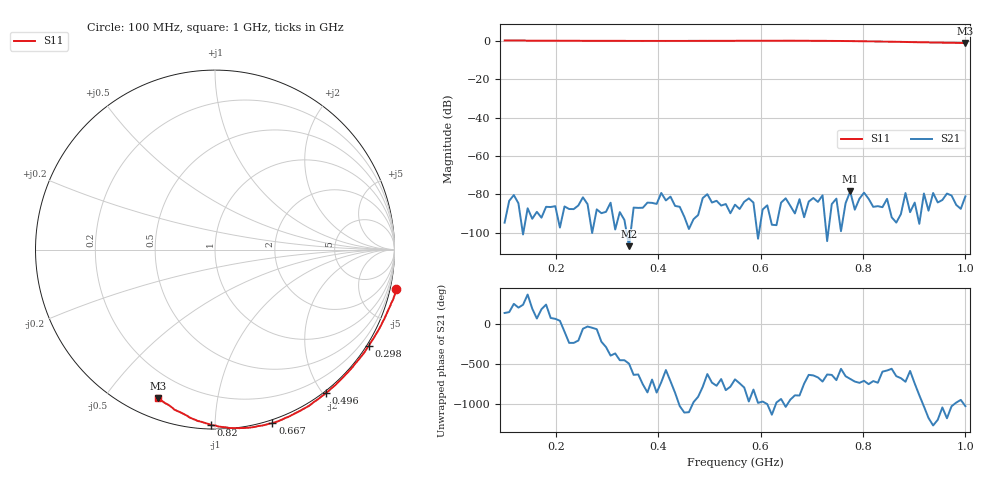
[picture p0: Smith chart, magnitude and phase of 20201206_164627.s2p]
# HZ S RI R 50
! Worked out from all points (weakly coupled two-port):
!   101 points, 100 MHz to 1 GHz, reference 50 ohm
!   highest |S21| = -78.53 dB at 775 MHz (marker M1); lowest = -107.1 dB at 343 MHz (marker M2)
!   lowest |S11| = -1.0 dB at 1 GHz (marker M3), VSWR 16.62, Z = 4.42 - j34.1 ohm
!   |S11| at or under -10 dB: nowhere
!   S12 and S22 are empty: the file has one direction only
!   S11 on the Smith chart (normalised r, x): 100 MHz: -1.33, -9.13; 298 MHz: -0.07, -3.49; 496 MHz: -0.02, -2.04; 667 MHz: -0.03, -1.38; 820 MHz: 0.02, -0.98; 1 GHz: 0.09, -0.68
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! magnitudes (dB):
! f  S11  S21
! 100 MHz  0.3  -94.8
! 253 MHz  0.1  -81.6
! 298 MHz  0.1  -89.2
! 343 MHz  0.1  -107.1
! 397 MHz  0.1  -85.0
! 406 MHz  0.1  -79.3
! 415 MHz  0.1  -83.2
! 496 MHz  0.1  -80.0
! 550 MHz  0.1  -85.4
! 667 MHz  0.2  -90.0
! 703 MHz  0.1  -81.9
! 766 MHz  0.0  -84.6
! 775 MHz  0.0  -78.5
! 784 MHz  -0.1  -88.0
! 802 MHz  -0.1  -79.1
! 820 MHz  -0.2  -86.5
! 856 MHz  -0.4  -92.0
! 883 MHz  -0.5  -79.3
! 928 MHz  -0.7  -88.5
! 937 MHz  -0.8  -79.3
! 946 MHz  -0.8  -84.3
! 1 GHz  -1.0  -81.1
